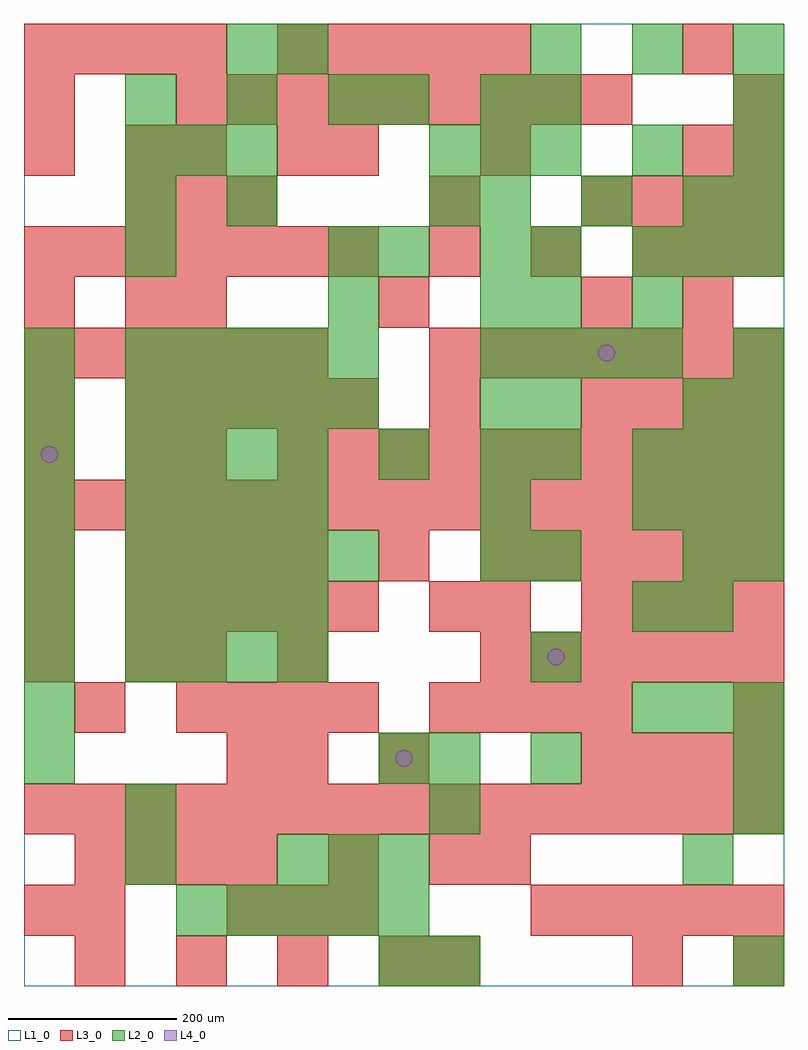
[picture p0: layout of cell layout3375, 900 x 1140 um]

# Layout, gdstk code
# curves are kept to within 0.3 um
import gdstk
lib = gdstk.Library(unit=1e-6, precision=1e-09)
def R(c, l, rs):  # rectangles x0, y0, x1, y1
    for r in rs: c.add(gdstk.rectangle(r[:2], r[2:], *l))
def A(c, l, x, y, w, h, nx, ny, dx, dy):  # array of equal rectangles
    R(c, l, [(x+i*dx, y+j*dy, x+i*dx+w, y+j*dy+h) for i in range(nx) for j in range(ny)])
def P(c, l, *ps):  # polygons
    for p in ps: c.add(gdstk.Polygon(p, *l))
L1_0 = (1, 0)
L2_0 = (2, 0)
L3_0 = (3, 0)
L4_0 = (4, 0)

layout3375 = lib.new_cell('layout3375')
R(layout3375, L1_0, [(0,0,900,1140)])
A(layout3375, L2_0, 840, 0, 60, 60, 1, 3, 0, 240)
A(layout3375, L2_0, 180, 60, 60, 60, 5, 1, 60, 0)
A(layout3375, L2_0, 300, 120, 60, 60, 3, 1, 60, 0)
A(layout3375, L2_0, 120, 180, 60, 60, 3, 1, 360, 0)
A(layout3375, L2_0, 0, 240, 60, 60, 1, 9, 0, 60)
A(layout3375, L2_0, 600, 240, 60, 60, 1, 4, 0, 120)
A(layout3375, L2_0, 720, 300, 60, 60, 3, 2, 60, 240)
A(layout3375, L2_0, 120, 360, 60, 60, 4, 2, 60, 60)
A(layout3375, L2_0, 120, 480, 60, 60, 5, 2, 60, 180)
A(layout3375, L2_0, 540, 480, 60, 60, 1, 4, 0, 60)
A(layout3375, L2_0, 120, 540, 60, 60, 4, 2, 60, 60)
A(layout3375, L2_0, 720, 600, 60, 60, 3, 2, 60, 240)
A(layout3375, L2_0, 120, 720, 60, 60, 5, 1, 60, 0)
A(layout3375, L2_0, 540, 720, 60, 60, 4, 1, 60, 0)
A(layout3375, L2_0, 540, 900, 60, 60, 3, 1, 120, 0)
A(layout3375, L2_0, 840, 900, 60, 60, 1, 3, 0, 60)
A(layout3375, L2_0, 120, 960, 60, 60, 3, 1, 60, 0)
A(layout3375, L2_0, 480, 960, 60, 60, 3, 1, 60, 0)
A(layout3375, L2_0, 120, 1020, 60, 60, 3, 1, 120, 0)
A(layout3375, L2_0, 600, 1080, 60, 60, 3, 1, 120, 0)
R(layout3375, L2_0, [(420,0,480,60), (480,0,540,60), (120,120,180,180), (780,120,840,180), (420,240,480,300), (480,240,540,300), (720,420,780,480), (780,420,840,480), (780,480,840,540), (420,600,480,660), (600,660,660,720), (780,660,840,720), (840,660,900,720), (840,720,900,780), (360,780,420,840), (540,780,600,840), (600,780,660,840), (720,780,780,840), (120,840,180,900), (360,840,420,900), (420,840,480,900), (540,840,600,900), (600,840,660,900), (120,900,180,960), (240,900,300,960), (480,900,540,960), (720,960,780,1020), (420,1020,480,1080), (540,1020,600,1080), (600,1020,660,1080), (240,1080,300,1140), (300,1080,360,1140)])
A(layout3375, L3_0, 60, 0, 60, 60, 4, 1, 120, 0)
A(layout3375, L3_0, 240, 60, 60, 60, 3, 1, 60, 0)
A(layout3375, L3_0, 600, 60, 60, 60, 5, 1, 60, 0)
A(layout3375, L3_0, 60, 120, 60, 60, 4, 1, 60, 0)
A(layout3375, L3_0, 0, 180, 60, 60, 15, 2, 60, 360)
A(layout3375, L3_0, 660, 240, 60, 60, 4, 2, 60, 180)
A(layout3375, L3_0, 180, 300, 60, 60, 4, 1, 60, 0)
A(layout3375, L3_0, 480, 300, 60, 60, 4, 1, 60, 0)
A(layout3375, L3_0, 0, 360, 60, 60, 1, 3, 0, 60)
A(layout3375, L3_0, 540, 360, 60, 60, 6, 2, 60, 120)
A(layout3375, L3_0, 120, 420, 60, 60, 5, 2, 60, 240)
A(layout3375, L3_0, 480, 420, 60, 60, 1, 3, 0, 240)
A(layout3375, L3_0, 120, 480, 60, 60, 4, 1, 60, 0)
A(layout3375, L3_0, 120, 600, 60, 60, 1, 3, 0, 180)
A(layout3375, L3_0, 300, 600, 60, 60, 10, 1, 60, 0)
A(layout3375, L3_0, 660, 660, 60, 60, 4, 2, 60, 240)
A(layout3375, L3_0, 0, 720, 60, 60, 6, 1, 60, 0)
A(layout3375, L3_0, 480, 720, 60, 60, 7, 1, 60, 0)
A(layout3375, L3_0, 180, 780, 60, 60, 3, 1, 240, 0)
A(layout3375, L3_0, 0, 840, 60, 60, 7, 1, 60, 0)
A(layout3375, L3_0, 480, 840, 60, 60, 3, 1, 120, 0)
A(layout3375, L3_0, 780, 840, 60, 60, 1, 3, 0, 120)
A(layout3375, L3_0, 120, 900, 60, 60, 3, 1, 60, 0)
A(layout3375, L3_0, 180, 1020, 60, 60, 9, 1, 60, 0)
A(layout3375, L3_0, 0, 1080, 60, 60, 4, 1, 60, 0)
A(layout3375, L3_0, 300, 1080, 60, 60, 5, 1, 60, 0)
R(layout3375, L3_0, [(480,0,540,60), (720,0,780,60), (840,0,900,60), (0,60,60,120), (60,60,120,120), (360,120,420,180), (480,120,540,180), (540,120,600,180), (240,240,300,300), (300,240,360,300), (420,240,480,300), (60,300,120,360), (840,300,900,360), (120,360,180,420), (180,360,240,420), (300,360,360,420), (540,420,600,480), (420,480,480,540), (0,600,60,660), (180,600,240,660), (0,660,60,720), (0,780,60,840), (780,780,840,840), (840,840,900,900), (0,960,60,1020), (180,960,240,1020), (300,960,360,1020), (360,960,420,1020), (540,960,600,1020), (840,960,900,1020), (0,1020,60,1080), (840,1020,900,1080)])
P(layout3375, L4_0, [(40,630),(39.239,633.827),(37.071,637.071),(33.827,639.239),(30,640),(26.173,639.239),(22.929,637.071),(20.761,633.827),(20,630),(20.761,626.173),(22.929,622.929),(26.173,620.761),(30,620),(33.827,620.761),(37.071,622.929),(39.239,626.173)],
  [(460,270),(459.239,273.827),(457.071,277.071),(453.827,279.239),(450,280),(446.173,279.239),(442.929,277.071),(440.761,273.827),(440,270),(440.761,266.173),(442.929,262.929),(446.173,260.761),(450,260),(453.827,260.761),(457.071,262.929),(459.239,266.173)],
  [(640,390),(639.239,393.827),(637.071,397.071),(633.827,399.239),(630,400),(626.173,399.239),(622.929,397.071),(620.761,393.827),(620,390),(620.761,386.173),(622.929,382.929),(626.173,380.761),(630,380),(633.827,380.761),(637.071,382.929),(639.239,386.173)],
  [(700,750),(699.239,753.827),(697.071,757.071),(693.827,759.239),(690,760),(686.173,759.239),(682.929,757.071),(680.761,753.827),(680,750),(680.761,746.173),(682.929,742.929),(686.173,740.761),(690,740),(693.827,740.761),(697.071,742.929),(699.239,746.173)])

lib.write_gds('layout3375.gds')
